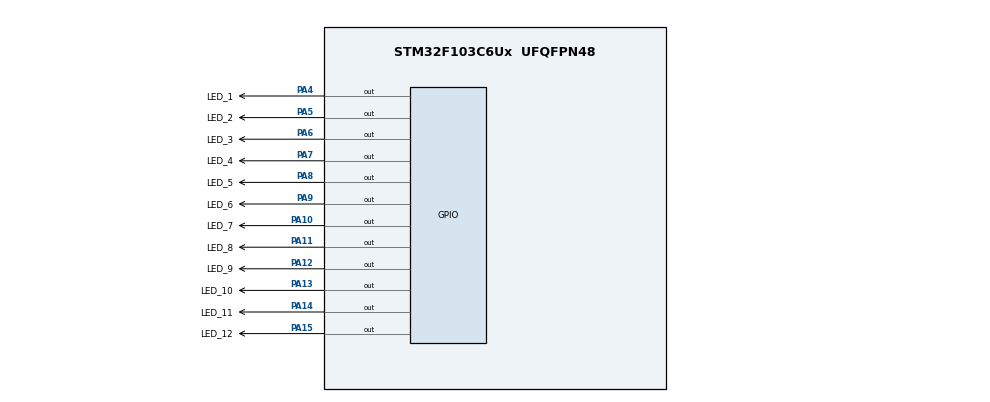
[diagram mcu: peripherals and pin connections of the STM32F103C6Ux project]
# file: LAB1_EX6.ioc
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Mcu.Family=STM32F1
Mcu.Name=STM32F103C6Ux
Mcu.Package=UFQFPN48
NVIC.PriorityGroup=NVIC_PRIORITYGROUP_4
PA10.GPIO_Label=LED_7
PA10.Signal=GPIO_Output
PA11.GPIO_Label=LED_8
PA11.Signal=GPIO_Output
PA12.GPIO_Label=LED_9
PA12.Signal=GPIO_Output
PA13.GPIO_Label=LED_10
PA13.Signal=GPIO_Output
PA14.GPIO_Label=LED_11
PA14.Signal=GPIO_Output
PA15.GPIO_Label=LED_12
PA15.Signal=GPIO_Output
PA4.GPIO_Label=LED_1
PA4.Signal=GPIO_Output
PA5.GPIO_Label=LED_2
PA5.Signal=GPIO_Output
PA6.GPIO_Label=LED_3
PA6.Signal=GPIO_Output
PA7.GPIO_Label=LED_4
PA7.Signal=GPIO_Output
PA8.GPIO_Label=LED_5
PA8.Signal=GPIO_Output
PA9.GPIO_Label=LED_6
PA9.Signal=GPIO_Output
ProjectManager.HeapSize=0x200
ProjectManager.StackSize=0x400
ProjectManager.TargetToolchain=STM32CubeIDE
RCC.APB1Freq_Value=8000000
RCC.APB2Freq_Value=8000000
VP_SYS_VS_ND.Mode=No_Debug
board=custom

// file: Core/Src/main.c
/* USER CODE BEGIN Header */
/**
  ******************************************************************************
  * @file           : main.c
  * @brief          : Main program body
  ******************************************************************************
  * @attention
  *
  * <h2><center>&copy; Copyright (c) 2025 STMicroelectronics.
  * All rights reserved.</center></h2>
  *
  * This software component is licensed by ST under BSD 3-Clause license,
  * the "License"; You may not use this file except in compliance with the
  * License. You may obtain a copy of the License at:
  *                        opensource.org/licenses/BSD-3-Clause
  *
  ******************************************************************************
  */
/* USER CODE END Header */
#include "main.h"

void SystemClock_Config(void);
static void MX_GPIO_Init(void);

int main(void)
{

  /* MCU Configuration--------------------------------------------------------*/

  /* Reset of all peripherals, Initializes the Flash interface and the Systick. */
  HAL_Init();

  /* Configure the system clock */
  SystemClock_Config();

  /* Initialize all configured peripherals */
  MX_GPIO_Init();

  /* Infinite loop */
  /* USER CODE BEGIN WHILE */

#define NUM_LEDS 12
  GPIO_TypeDef* LED_Port[NUM_LEDS] = {
      LED_1_GPIO_Port, LED_2_GPIO_Port, LED_3_GPIO_Port, LED_4_GPIO_Port,
      LED_5_GPIO_Port, LED_6_GPIO_Port, LED_7_GPIO_Port, LED_8_GPIO_Port,
      LED_9_GPIO_Port, LED_10_GPIO_Port, LED_11_GPIO_Port, LED_12_GPIO_Port
  };

  uint16_t LED_Pin[NUM_LEDS] = {
      LED_1_Pin, LED_2_Pin, LED_3_Pin, LED_4_Pin,
      LED_5_Pin, LED_6_Pin, LED_7_Pin, LED_8_Pin,
      LED_9_Pin, LED_10_Pin, LED_11_Pin, LED_12_Pin
  };

  void clearAllClock(){
  	  for (int i = 0; i < NUM_LEDS; i ++){
  		  HAL_GPIO_WritePin(LED_Port[i], LED_Pin[i], RESET);
  	  }
    }

  void  setNumberOnClock(int num){
  	  HAL_GPIO_WritePin(LED_Port[num], LED_Pin[num], SET);
    }
  /*void clearNumberOnClock(int num){
	  HAL_GPIO_WritePin(LED_Port[num], LED_Pin[num], RESET);
  }*/
  /*void testLed(){
	  for (int i = 0; i < NUM_LEDS; i++)
	  	          {
	  	              HAL_GPIO_WritePin(LED_Port[i], LED_Pin[i], SET);
	  	              HAL_Delay(1000);

	  	              HAL_GPIO_WritePin(LED_Port[i], LED_Pin[i], RESET);
	  	          }
  }*/
  int hour = 0;
  int minute = 10;
  int second = 0;

  while (1)
  {
	  //testLed();
	  clearAllClock();
	  int hour_pos = hour % 12;
	  int minute_pos = minute / 5;
	  int second_pos = second / 5;

	  setNumberOnClock(hour_pos);
	  setNumberOnClock(minute_pos);
	  setNumberOnClock(second_pos);

	  HAL_Delay(1000);
	  second++;
	  if (second >= 60) { second = 0; minute++; }
	  if (minute >= 60) { minute = 0; hour++; }
	  if (hour >= 12)   { hour = 0; }

    /* USER CODE END WHILE */

  }
}

void SystemClock_Config(void)
{
  RCC_OscInitTypeDef RCC_OscInitStruct = {0};
  RCC_ClkInitTypeDef RCC_ClkInitStruct = {0};

  /** Initializes the RCC Oscillators according to the specified parameters
  * in the RCC_OscInitTypeDef structure.
  */
  RCC_OscInitStruct.OscillatorType = RCC_OSCILLATORTYPE_HSI;
  RCC_OscInitStruct.HSIState = RCC_HSI_ON;
  RCC_OscInitStruct.HSICalibrationValue = RCC_HSICALIBRATION_DEFAULT;
  RCC_OscInitStruct.PLL.PLLState = RCC_PLL_NONE;
  if (HAL_RCC_OscConfig(&RCC_OscInitStruct) != HAL_OK)
  {
    Error_Handler();
  }
  /** Initializes the CPU, AHB and APB buses clocks
  */
  RCC_ClkInitStruct.ClockType = RCC_CLOCKTYPE_HCLK|RCC_CLOCKTYPE_SYSCLK
                              |RCC_CLOCKTYPE_PCLK1|RCC_CLOCKTYPE_PCLK2;
  RCC_ClkInitStruct.SYSCLKSource = RCC_SYSCLKSOURCE_HSI;
  RCC_ClkInitStruct.AHBCLKDivider = RCC_SYSCLK_DIV1;
  RCC_ClkInitStruct.APB1CLKDivider = RCC_HCLK_DIV1;
  RCC_ClkInitStruct.APB2CLKDivider = RCC_HCLK_DIV1;

  if (HAL_RCC_ClockConfig(&RCC_ClkInitStruct, FLASH_LATENCY_0) != HAL_OK)
  {
    Error_Handler();
  }
}

static void MX_GPIO_Init(void)
{
  GPIO_InitTypeDef GPIO_InitStruct = {0};

  /* GPIO Ports Clock Enable */
  __HAL_RCC_GPIOA_CLK_ENABLE();

  /*Configure GPIO pin Output Level */
  HAL_GPIO_WritePin(GPIOA, LED_1_Pin|LED_2_Pin|LED_3_Pin|LED_4_Pin
                          |LED_5_Pin|LED_6_Pin|LED_7_Pin|LED_8_Pin
                          |LED_9_Pin|LED_10_Pin|LED_11_Pin|LED_12_Pin, GPIO_PIN_RESET);

  /*Configure GPIO pins : LED_1_Pin LED_2_Pin LED_3_Pin LED_4_Pin
                           LED_5_Pin LED_6_Pin LED_7_Pin LED_8_Pin
                           LED_9_Pin LED_10_Pin LED_11_Pin LED_12_Pin */
  GPIO_InitStruct.Pin = LED_1_Pin|LED_2_Pin|LED_3_Pin|LED_4_Pin
                          |LED_5_Pin|LED_6_Pin|LED_7_Pin|LED_8_Pin
                          |LED_9_Pin|LED_10_Pin|LED_11_Pin|LED_12_Pin;
  GPIO_InitStruct.Mode = GPIO_MODE_OUTPUT_PP;
  GPIO_InitStruct.Pull = GPIO_NOPULL;
  GPIO_InitStruct.Speed = GPIO_SPEED_FREQ_LOW;
  HAL_GPIO_Init(GPIOA, &GPIO_InitStruct);

}

void Error_Handler(void)
{
  __disable_irq();
  while (1)
  {
  }
}

/************************ (C) COPYRIGHT STMicroelectronics *****END OF FILE****/
